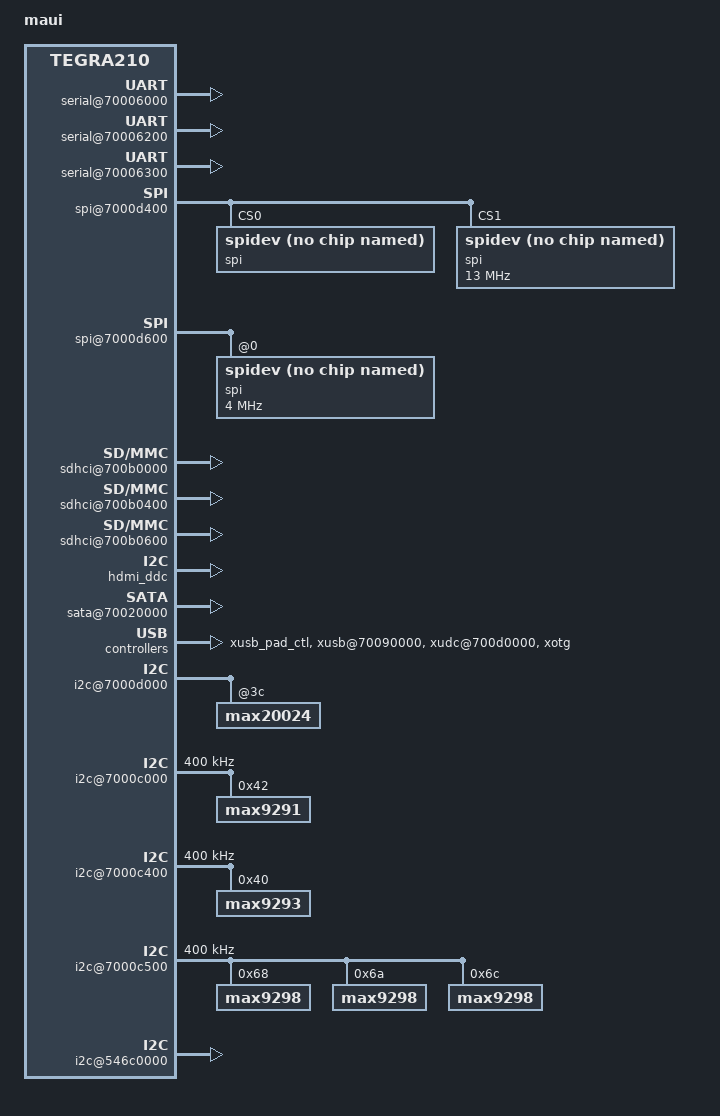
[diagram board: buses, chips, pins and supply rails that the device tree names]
/*
 * arch/arm64/boot/dts/tegra210-vcm31-maui.dts
 *
 * Copyright (c) 2015, NVIDIA CORPORATION.  All rights reserved.
 *
 * This program is free software; you can redistribute it and/or modify
 * it under the terms of the GNU General Public License as published by
 * the Free Software Foundation; version 2 of the License.
 *
 * This program is distributed in the hope that it will be useful, but WITHOUT
 * ANY WARRANTY; without even the implied warranty of MERCHANTABILITY or
 * FITNESS FOR A PARTICULAR PURPOSE.  See the GNU General Public License for
 * more details.
 *
 * You should have received a copy of the GNU General Public License along
 * with this program; if not, write to the Free Software Foundation, Inc.,
 * 51 Franklin Street, Fifth Floor, Boston, MA  02110-1301, USA.
 *
 */
#include "tegra210-platforms/tegra210-vcm31.dtsi"

#define CAM_I2C_BUS 6

/ {
	model = "maui";
	compatible = "nvidia,maui", "nvidia,tegra210";
	nvidia,dtsfilename = __FILE__;
	nvidia,boardids = "maui:0000:000";

	firmware {
		android {
			compatible = "android,firmware";
			hardware = "maui";
		};
	};

	serial@70006000 { /* CSB */
		status = "okay";
	};

	serial@70006200 { /* BT */
		status = "okay";
	};

	serial@70006300 { /* MCU */
		status = "okay";
	};

	spi@7000d400 { /* SPI1 */
		status = "okay";

		spi@0 {	 /* GYRO */
			compatible = "spidev";
			reg = <0>;
			interrupts=<TEGRA_GPIO(V,2)>;
			spi-cpha;
			spi-cpol;
			/* spi-active-high; */
		};

		spi@1 {	 /* ACC */
			compatible = "spidev";
			reg = <1>;
			spi-max-frequency = <13000000>;
			interrupts=<TEGRA_GPIO(Z,0)>;
			spi-cpha;
			spi-cpol;
			/* spi-active-high; */
		};

	};

	spi@7000d600 { /* SLAVE */
		status = "okay";
		compatible = "nvidia,tegra210-spi-slave";
		nvidia,slave-ready-gpio = <&gpio TEGRA_GPIO(V,0) 1>;
		spi@0 {
			compatible = "spidev";
			spi-max-frequency = <4000000>;
			spi-cpha;
			controller-data {
				nvidia,clk-delay-between-packets = <10>;
				nvidia,variable-length-transfer;
			};
		};
	};

	spi@7000d800 { /* unused */
		status = "disabled";
	};

	spi@7000da00 { /* unused */
		status = "disabled";
	};

	sdhci@700b0000 { /* sdio/wifi/bt */
		/delete-property/ non-removable;
		nvidia,sd-device;
		power-gpios = <&gpio TEGRA_GPIO(C,6) 0 &gpio TEGRA_GPIO(BB,1) 0>;
		uhs-mask = <0x7C>;
		mmc-ocr-mask = <0x3>;
		vddio_sdmmc-supply = <&vdd_dummy_1v8>;
		cap-sdio-irq;
		disable-clock-gate;
		status = "okay";

	};

	sdhci@700b0200 {
		  status = "disabled";
	 };

	sdhci@700b0400 { /* sdio/wifi */
		/delete-property/ non-removable;
		nvidia,sd-device;
		power-gpios = <&gpio TEGRA_GPIO(C,5) 0>;
		uhs-mask = <0x7C>;
		mmc-ocr-mask = <0x3>;
		vddio_sdmmc-supply = <&vdd_dummy_1v8>;
		cap-sdio-irq;
		disable-clock-gate;
		status = "okay";
	};

	sdhci@700b0600 { /* emmc */
		status = "okay";
	};

	hdmi_ddc: i2c@7000c700 { /* DDC */
		status = "okay";
	};

	sata@70020000 {
		status = "okay";
	};

	extcon {
		  vbus_gpio_extcon: extcon@1 {
			/* OTG/ID pins are virtual and indicate Device mode at boot */
			   extcon-gpio,cable-states = <0x3 0x1
						      0x0 0x1
						      0x1 0x1
						      0x2 0x1>;
			/*
			 * L0 + L1 are unused GPIOs in Maui
			 * with  GPIOs reserved for VBUS/ID sensing
			 */
			gpios = <&gpio TEGRA_GPIO(L,0) 0 &gpio TEGRA_GPIO(L,1) 0>;
		  };
	 };

	xusb_pad_ctl: xusb_padctl {
		nvidia,enable-sata-port;
		/* no SS mapping, no lane owner - everything is owned by USB3 */
		nvidia,ss_portmap = <0x7777>;
		nvidia,lane_owner = <0xFFFF>;
		nvidia,otg_portmap = <0x0100>;
		status = "okay";
	};

	xusb@70090000 {
		/*
		 * portmap - bit-field indicating which non-OTG ports are
		 *		controlled by XHCI (SSP3 and USB2P2)
		 * bit[0-3]  : SS ports 0 to 3
		 * bit[8-11] : HS ports 0 to 3
		 */
		nvidia,portmap = <0x10E00>;
		status = "okay";
	};

	xudc@700d0000 {
		/*
		 * portmap - bit-field indicating which non-OTG ports are
		 *		controlled by XUDC (None)
		 * bit[0-3]  : SS ports 0 to 3
		 * bit[8-11] : HS ports 0 to 3
		 */
		nvidia,portmap = <0x0000>;
		status = "okay";
	};

	xotg {
		nvidia,common_padctl = <&xusb_pad_ctl>;
		#extcon-cells = <1>;
		status = "okay";
		extcon-cables = <&vbus_gpio_extcon 1>;
		extcon-cable-names = "id";
	};

	i2c@7000d000 {
		max20024: max20024@3c {
			pinctrl-names = "default";
			pinctrl-0 = <&max20024_default>;
			max20024_default: pinmux@0 {
				pin_gpio0 { /* USB ID */
					pins = "gpio0";
					function = "gpio";
				};
			};
		};
	};

	i2c@7000c000 { /* GEN1 */
		clock-frequency = <400000>;

		max9291@42 {
			compatible = "max9291";
			reg = <0x42>;
			status = "okay";
		};
	};

	i2c@7000c400 { /* GEN2 */
		clock-frequency = <400000>;
		max9293@40 {
			compatible = "max9293";
			reg = <0x40>;
			status = "okay";
		};
	};

	i2c@7000c500 { /* GEN3 */
		clock-frequency = <400000>;
		max9298@68 {
			compatible = "max9298";
			reg = <0x68>;
			status = "okay";
		};
		max9298@6a {
			compatible = "max9298";
			reg = <0x6A>;
			status = "okay";
		};
		max9298@6c {
			compatible = "max9298";
			reg = <0x6C>;
			status = "okay";
		};
	};

	vii2c {
		avdd_dsi_csi-supply = <&vdd_dummy>;
	};

	i2c@546c0000 {
		avdd_dsi_csi-supply = <&vdd_dummy>;
		status = "okay";
	};

	isc-mgr.0 {
		compatible = "nvidia,isc-mgr";
		i2c-bus = <2>;
		csi-port = <0>;

		status = "disabled";

		/* default-power-on; */
		interrupt-parent = <&gpio>;

		aggregator@6a {
			addr = <0x6a>;  /* 7 bit slave address */
			reg_len = <8>;  /* 8 bit register length */
			dat_len = <8>;  /* 8 bit data length */
		};

		serializer0@40 {
			addr = <0x40>;  /* 7 bit slave address */
			reg_len = <8>;  /* 8 bit register length */
			dat_len = <8>;  /* 8 bit data length */
		};

		sensor0@30 {
			addr = <0x30>;  /* 7 bit slave address */
			reg_len = <16>;  /* 8 bit register length */
			dat_len = <8>;  /* 8 bit data length */
		};
	};

	isc-mgr.1 {
		compatible = "nvidia,isc-mgr";
		i2c-bus = <CAM_I2C_BUS>;
		csi-port = <2>;
		pwdn-gpios = < &gpio TEGRA_GPIO(Y, 2) GPIO_ACTIVE_HIGH	/* GMSL_IN2_PDN */
			&gpio TEGRA_GPIO(H, 1) GPIO_ACTIVE_HIGH		/* CSI2_TV_EN1 */
			&gpio TEGRA_GPIO(H, 5) GPIO_ACTIVE_HIGH		/* CSI2_TV_EN2 */
			&gpio TEGRA_GPIO(S, 7) GPIO_ACTIVE_HIGH		/* CSI2_TV_EN3 */
			&gpio TEGRA_GPIO(T, 0) GPIO_ACTIVE_HIGH>;	/* CSI2_TV_EN4 */
		/* default-power-on; */
		interrupt-parent = <&gpio>;
		interrupts = <TEGRA_GPIO(X, 5) 2>; /* gpio PX5 : falling edge sensitive */

		status = "disabled";

		aggregator@6a {
			addr = <0x6a>;  /* 7 bit slave address */
			reg_len = <8>;  /* 8 bit register length */
			dat_len = <8>;  /* 8 bit data length */
		};

		serializer0@40 {
			addr = <0x40>;  /* 7 bit slave address */
			reg_len = <8>;  /* 8 bit register length */
			dat_len = <8>;  /* 8 bit data length */
		};

		sensor0@30 {
			addr = <0x30>;  /* 7 bit slave address */
			reg_len = <16>;  /* 8 bit register length */
			dat_len = <8>;  /* 8 bit data length */
		};
	};

	tlk {
		compatible = "nvidia,trusted-little-kernel";
		logger = "disabled";
		storage = "disabled";
	};

	regulators {
		en_vdd_sdcard1: regulator@4 {
			status = "disabled";
		};

	 	en_vdd_sdcard3: regulator@5 {
			status = "disabled";
		};
	};

	sound_ref {
		compatible = "nvidia,tegra-audio-maui";
		nvidia,model = "tegra-snd-maui";
		nvidia,num-codec-link = <1>;
		nvidia,num-amx = <2>;
		nvidia,num-adx = <2>;
		nvidia,amx-slot-size = <32 32>;
		nvidia,adx-slot-size = <32 32>;
		nvidia,amx-slot-map = <
			/* slot 0 - Hi */
			TDM_SLOT_MAP(0, 1, 0)
			TDM_SLOT_MAP(0, 1, 1)
			/* slot 1 - Hi */
			TDM_SLOT_MAP(0, 2, 0)
			TDM_SLOT_MAP(0, 2, 1)
			/* slot 2 - Hi */
			TDM_SLOT_MAP(1, 1, 0)
			TDM_SLOT_MAP(1, 1, 1)
			/* slot 3 - Hi */
			TDM_SLOT_MAP(1, 2, 0)
			TDM_SLOT_MAP(1, 2, 1)
			/* slot 4 - Hi */
			TDM_SLOT_MAP(2, 1, 0)
			TDM_SLOT_MAP(2, 1, 1)
			/* slot 5 - Hi */
			TDM_SLOT_MAP(2, 2, 0)
			TDM_SLOT_MAP(2, 2, 1)
			/* slot 6 - Hi */
			TDM_SLOT_MAP(3, 1, 0)
			TDM_SLOT_MAP(3, 1, 1)
			/* slot 7 - Hi */
			TDM_SLOT_MAP(3, 2, 0)
			TDM_SLOT_MAP(3, 2, 1)
			/* slot 0 to 7 - Low */
			TDM_SLOT_MAP(0, 0, 0)
			TDM_SLOT_MAP(0, 0, 0)
			TDM_SLOT_MAP(0, 0, 0)
			TDM_SLOT_MAP(0, 0, 0)
			TDM_SLOT_MAP(0, 0, 0)
			TDM_SLOT_MAP(0, 0, 0)
			TDM_SLOT_MAP(0, 0, 0)
			TDM_SLOT_MAP(0, 0, 0)
			TDM_SLOT_MAP(0, 0, 0)
			TDM_SLOT_MAP(0, 0, 0)
			TDM_SLOT_MAP(0, 0, 0)
			TDM_SLOT_MAP(0, 0, 0)
			TDM_SLOT_MAP(0, 0, 0)
			TDM_SLOT_MAP(0, 0, 0)
			TDM_SLOT_MAP(0, 0, 0)
			TDM_SLOT_MAP(0, 0, 0)>;

		nvidia,adx-slot-map = <
			/* slot 0 - Hi */
			TDM_SLOT_MAP(0, 1, 0)
			TDM_SLOT_MAP(0, 1, 1)
			/* slot 1 - Hi */
			TDM_SLOT_MAP(0, 2, 0)
			TDM_SLOT_MAP(0, 2, 1)
			/* slot 2 - Hi */
			TDM_SLOT_MAP(1, 1, 0)
			TDM_SLOT_MAP(1, 1, 1)
			/* slot 3 - Hi */
			TDM_SLOT_MAP(1, 2, 0)
			TDM_SLOT_MAP(1, 2, 1)
			/* slot 4 - Hi */
			TDM_SLOT_MAP(2, 1, 0)
			TDM_SLOT_MAP(2, 1, 1)
			/* slot 5 - Hi */
			TDM_SLOT_MAP(2, 2, 0)
			TDM_SLOT_MAP(2, 2, 1)
			/* slot 6 - Hi */
			TDM_SLOT_MAP(3, 1, 0)
			TDM_SLOT_MAP(3, 1, 1)
			/* slot 7 - Hi */
			TDM_SLOT_MAP(3, 2, 0)
			TDM_SLOT_MAP(3, 2, 1)
			/* slot 0 to 7 - Low */
			/* slot 0 to 7 - Low */
			TDM_SLOT_MAP(0, 0, 0)
			TDM_SLOT_MAP(0, 0, 0)
			TDM_SLOT_MAP(0, 0, 0)
			TDM_SLOT_MAP(0, 0, 0)
			TDM_SLOT_MAP(0, 0, 0)
			TDM_SLOT_MAP(0, 0, 0)
			TDM_SLOT_MAP(0, 0, 0)
			TDM_SLOT_MAP(0, 0, 0)
			TDM_SLOT_MAP(0, 0, 0)
			TDM_SLOT_MAP(0, 0, 0)
			TDM_SLOT_MAP(0, 0, 0)
			TDM_SLOT_MAP(0, 0, 0)
			TDM_SLOT_MAP(0, 0, 0)
			TDM_SLOT_MAP(0, 0, 0)
			TDM_SLOT_MAP(0, 0, 0)
			TDM_SLOT_MAP(0, 0, 0)>;

		nvidia,audio-routing =
			"Headphone-y", "y OUT",
			"y IN", "LineIn-y";

		nvidia,xbar = <&tegra_axbar>;


		nvidia,dai-link-1 {
			link-name = "dif-playback";
			cpu-dai = <&tegra_i2s4>;
			codec-dai = <&spdif_dit1>;
			cpu-dai-name = "I2S4";
			codec-dai-name = "dit-hifi";
			tx-mask = <0xFF>;
			rx-mask = <0xFF>;
			format = "dsp_a";
			bitclock-slave;
			frame-slave;
			bitclock-noninversion;
			frame-noninversion;
			bit-format = "s32_le";
			bclk_ratio = <1>;
			srate = <48000>;
			num-channel = <8>;
			name-prefix = "y";
		};
	};
};
